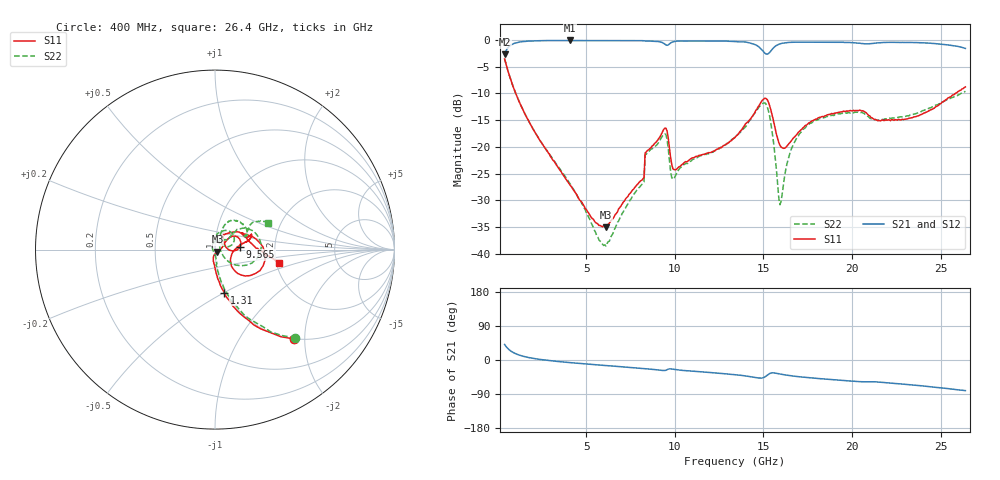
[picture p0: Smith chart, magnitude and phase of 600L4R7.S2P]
!  American Technical Ceramics  Date:  10/26/00
!  One Norden Lane
!  Huntington Station,  NY.  11746-2102
!  Tel:  (631) 622-4700  Fax:  (631) 622-4748
!  Part Number  600L4R7C  Mounting Orientation:  Horizontal
!  Description:  Low ESR, High Q Microwave capacitors
!  Application: Coupling, Bypass, Tuning, DC Block
!  Filters, Matching
# GHZ S DB R 50
! Freq  |S11|  S11 Ph  |S21|  S21 Ph  |S12|  S12 Ph  |S22|  S22 Ph
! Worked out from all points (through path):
!   401 points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, 400 MHz to 26.4 GHz, reference 50 ohm
!   highest |S21| = -0.09 dB at 4.105 GHz (marker M1); lowest = -2.7 dB at 400 MHz (marker M2)
!   group delay of S21, straight-line fit = 9.08 ps
!   lowest |S11| = -35.0 dB at 6.12 GHz (marker M3), VSWR 1.04, Z = 51.4 - j1.14 ohm
!   |S11| at or under -10 dB: 1.028 GHz to 25.84 GHz (24.81 GHz wide, 185 % of centre)
!   |S22| runs from -38.6 to -3.5 dB; largest |S21 - S12| = 0.0089
!   S11 on the Smith chart (normalised r, x): 400 MHz: 0.99, -1.77; 1.31 GHz: 0.98, -0.50; 9.565 GHz: 1.33, +0.04; 26.4 GHz: 2.07, -0.35
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0.4  -3.55 -48.6  -2.67 41.0  -2.67 41.0  -3.53 -47.7
0.79  -7.85 -66.9  -0.88 22.3  -0.88 22.2  -7.89 -65.8
1.31  -12.20 -78.0  -0.36 11.7  -0.36 11.8  -12.18 -75.0
4.105  -27.21 -101.6  -0.09 -7.0  -0.09 -7.0  -26.95 -83.9
4.755  -30.37 -97.0  -0.09 -9.6  -0.10 -9.6  -30.63 -90.6
6.12  -35.04 -38.7  -0.10 -14.7  -0.10 -14.6  -38.60 -170.9
8.135  -26.26 24.1  -0.13 -22.0  -0.14 -21.9  -27.07 89.8
8.46  -20.71 39.8  -0.20 -23.5  -0.19 -23.5  -21.10 81.5
9.11  -18.38 37.9  -0.32 -26.4  -0.32 -26.4  -19.10 67.8
9.565  -17.00 5.8  -1.00 -25.8  -1.00 -25.7  -18.57 24.3
9.955  -24.26 19.6  -0.30 -24.6  -0.29 -24.6  -26.00 43.5
13.4  -18.25 48.9  -0.30 -39.0  -0.31 -39.0  -18.22 41.2
14.57  -13.20 20.3  -0.92 -46.3  -0.93 -46.2  -13.50 33.4
15.155  -10.97 -18.4  -2.62 -42.5  -2.60 -42.4  -12.03 -5.5
15.415  -13.00 -41.0  -2.11 -34.6  -2.10 -34.7  -15.37 -31.9
15.87  -19.19 -37.8  -0.81 -36.3  -0.81 -36.2  -29.51 -15.6
16  -20.03 -28.9  -0.67 -37.5  -0.67 -37.5  -30.19 31.6
16.65  -18.58 3.6  -0.43 -42.2  -0.43 -42.1  -19.88 70.6
17.755  -15.12 13.7  -0.41 -47.5  -0.40 -47.4  -15.45 64.9
20.355  -13.23 22.6  -0.60 -56.9  -0.58 -56.9  -13.52 34.9
22.11  -14.97 30.8  -0.45 -60.7  -0.44 -60.6  -14.65 25.4
26.4  -8.79 -11.6  -1.58 -80.8  -1.59 -81.2  -9.61 27.1
